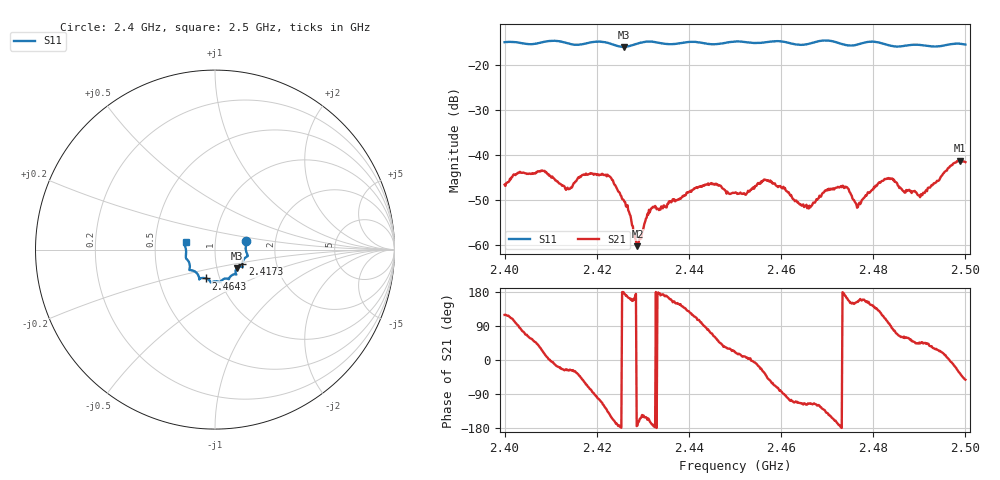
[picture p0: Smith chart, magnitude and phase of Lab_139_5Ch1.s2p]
# Hz S RI R 50
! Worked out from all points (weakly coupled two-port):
!   601 points, 2.4 GHz to 2.5 GHz, reference 50 ohm
!   highest |S21| = -41.33 dB at 2.4988 GHz (marker M1); lowest = -60.4 dB at 2.4288 GHz (marker M2)
!   lowest |S11| = -15.9 dB at 2.4258 GHz (marker M3), VSWR 1.38, Z = 62.3 - j13.2 ohm
!   |S11| at or under -10 dB: start of sweep to end of sweep
!   S12 and S22 are empty: the file has one direction only
!   S11 on the Smith chart (normalised r, x): 2.4 GHz: 1.41, +0.14; 2.4173 GHz: 1.34, -0.23; 2.4643 GHz: 0.86, -0.28; 2.5 GHz: 0.72, +0.06
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2.4e9  0.1732 0.0487  -0.00226 0.00407  0 0  0 0
2.403e9  0.1749 0.0344  -3.84e-05 0.00626  0 0  0 0
2.408167e9  0.1783 -0.0228  0.00608 0.0028  0 0  0 0
2.413667e9  0.1689 -0.0449  0.00388 -0.00186  0 0  0 0
2.416667e9  0.153 -0.0745  0.00391 -0.00433  0 0  0 0
2.417333e9  0.152 -0.0821  0.00311 -0.0051  0 0  0 0
2.4225e9  0.1487 -0.0948  -0.00434 -0.00391  0 0  0 0
2.425833e9  0.1214 -0.1037  -0.00313 7.81e-05  0 0  0 0
2.428833e9  0.1151 -0.1302  -0.000952 -0.000118  0 0  0 0
2.4315e9  0.1188 -0.1391  -0.00217 -0.000701  0 0  0 0
2.433333e9  0.1127 -0.1375  -0.0025 7.72e-05  0 0  0 0
2.444333e9  0.0608 -0.1608  0.00101 0.0045  0 0  0 0
2.45e9  0.0287 -0.1811  0.00356 0.00132  0 0  0 0
2.456833e9  -0.0129 -0.1796  0.00384 -0.00349  0 0  0 0
2.464333e9  -0.0497 -0.1604  -0.00114 -0.0025  0 0  0 0
2.466667e9  -0.0759 -0.1591  -0.00118 -0.00245  0 0  0 0
2.473e9  -0.091 -0.147  -0.00448 -0.000173  0 0  0 0
2.476833e9  -0.1248 -0.1164  -0.0026 0.00111  0 0  0 0
2.483333e9  -0.1403 -0.0895  -0.000639 0.00547  0 0  0 0
2.490167e9  -0.1628 -0.04  0.00244 0.00232  0 0  0 0
2.498833e9  -0.169 0.0361  0.00701 -0.00496  0 0  0 0
2.5e9  -0.1638 0.0427  0.00511 -0.00653  0 0  0 0
